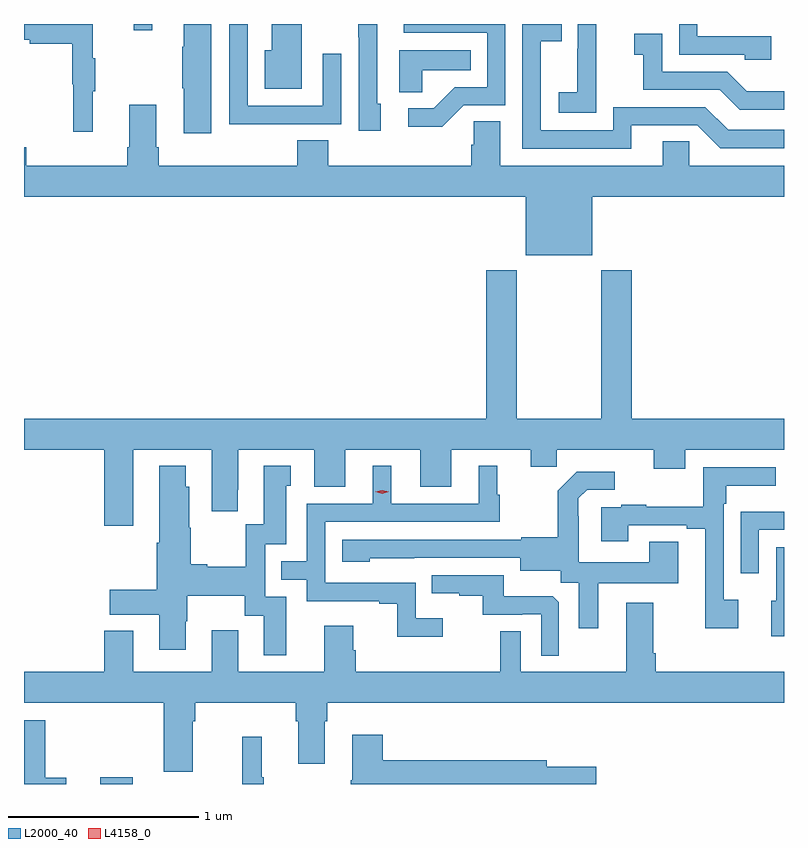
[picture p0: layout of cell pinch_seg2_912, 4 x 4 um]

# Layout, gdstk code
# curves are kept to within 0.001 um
import gdstk
lib = gdstk.Library(unit=1e-6, precision=1e-09)
def R(c, l, rs):  # rectangles x0, y0, x1, y1
    for r in rs: c.add(gdstk.rectangle(r[:2], r[2:], *l))
def P(c, l, *ps):  # polygons
    for p in ps: c.add(gdstk.Polygon(p, *l))
L2000_40 = (2000, 40)
L4158_0 = (4158, 0)

pinch_seg2_912 = lib.new_cell('pinch_seg2_912')
R(pinch_seg2_912, L2000_40, [(568.718,651.205,568.889,651.241), (568.893,655.173,568.99,655.205)])
P(pinch_seg2_912, L2000_40, [(570.63,654.777),(570.849,654.777),(570.849,655.205),(570.315,655.205),(570.315,655.158),(570.753,655.158),(570.753,654.873),(570.584,654.873),(570.473,654.762),(570.339,654.762),(570.339,654.665),(570.517,654.665)],
  [(571.513,654.672),(571.86,654.672),(571.98,654.552),(572.316,654.552),(572.316,654.648),(572.022,654.648),(571.902,654.768),(571.416,654.768),(571.416,654.645),(571.035,654.645),(571.035,655.114),(571.145,655.114),(571.145,655.205),(570.939,655.205),(570.939,654.549),(571.513,654.549)],
  [(570.193,654.786),(570.174,654.786),(570.174,655.205),(570.076,655.205),(570.076,655.135),(570.078,655.135),(570.078,654.642),(570.193,654.642)],
  [(569.302,655.205),(569.156,655.205),(569.156,655.085),(569.149,655.085),(569.149,654.868),(569.156,654.868),(569.156,654.63),(569.302,654.63)],
  [(572.249,655.14),(571.86,655.14),(571.86,655.205),(571.764,655.205),(571.764,655.044),(572.109,655.044),(572.109,655.017),(572.249,655.017)],
  [(571.329,654.943),(571.328,654.943),(571.328,655.205),(571.23,655.205),(571.23,655.076),(571.229,655.076),(571.229,654.847),(571.131,654.847),(571.131,654.737),(571.329,654.737)],
  [(568.679,654.851),(568.69,654.851),(568.69,655.025),(568.679,655.025),(568.679,655.205),(568.316,655.205),(568.316,655.122),(568.345,655.122),(568.345,655.102),(568.569,655.102),(568.569,654.888),(568.576,654.888),(568.576,654.639),(568.679,654.639)],
  [(569.779,655.203),(569.768,655.203),(569.768,655.205),(569.621,655.205),(569.621,655.066),(569.582,655.066),(569.582,654.863),(569.779,654.863)],
  [(569.669,654.678),(569.985,654.678),(569.985,655.048),(569.889,655.048),(569.889,654.774),(569.493,654.774),(569.493,655.205),(569.397,655.205),(569.397,654.677),(569.669,654.677)],
  [(572.316,654.85),(572.12,654.85),(572.016,654.954),(571.674,654.954),(571.674,655.153),(571.527,655.153),(571.527,655.043),(571.576,655.043),(571.576,654.858),(571.979,654.858),(572.084,654.753),(572.316,654.753)],
  [(570.411,654.962),(570.668,654.962),(570.668,655.066),(570.29,655.066),(570.29,654.847),(570.411,654.847)],
  [(571.306,654.296),(572.316,654.296),(572.316,654.46),(571.818,654.46),(571.818,654.587),(571.679,654.587),(571.679,654.46),(570.823,654.46),(570.823,654.692),(570.684,654.692),(570.684,654.569),(570.671,654.569),(570.671,654.46),(569.918,654.46),(569.918,654.593),(569.753,654.593),(569.753,654.46),(569.024,654.46),(569.024,654.556),(569.011,654.556),(569.011,654.781),(568.871,654.781),(568.871,654.556),(568.859,654.556),(568.859,654.46),(568.328,654.46),(568.328,654.556),(568.316,654.556),(568.316,654.296),(570.956,654.296),(570.956,653.987),(571.306,653.987)],
  [(568.891,652.964),(569.303,652.964),(569.303,652.641),(569.44,652.641),(569.44,652.753),(569.443,652.753),(569.443,652.964),(569.843,652.964),(569.843,652.77),(570.007,652.77),(570.007,652.964),(570.401,652.964),(570.401,652.77),(570.565,652.77),(570.565,652.964),(570.983,652.964),(570.983,652.874),(571.121,652.874),(571.121,652.964),(571.631,652.964),(571.631,652.865),(571.795,652.865),(571.795,652.964),(572.316,652.964),(572.316,653.128),(571.514,653.128),(571.514,653.908),(571.354,653.908),(571.354,653.128),(570.909,653.128),(570.909,653.908),(570.749,653.908),(570.749,653.128),(568.316,653.128),(568.316,652.964),(568.739,652.964),(568.739,652.563),(568.891,652.563)],
  [(570.52,652.078),(570.378,652.078),(570.378,652.263),(569.901,652.263),(569.901,652.584),(570.82,652.584),(570.82,652.728),(570.808,652.728),(570.808,652.879),(570.71,652.879),(570.71,652.68),(570.25,652.68),(570.25,652.879),(570.152,652.879),(570.152,652.68),(569.805,652.68),(569.805,652.377),(569.671,652.377),(569.671,652.281),(569.805,652.281),(569.805,652.167),(570.185,652.167),(570.185,652.155),(570.28,652.155),(570.28,651.98),(570.52,651.98)],
  [(569.695,652.191),(569.586,652.191),(569.586,652.467),(569.695,652.467),(569.695,652.776),(569.719,652.776),(569.719,652.879),(569.579,652.879),(569.579,652.572),(569.483,652.572),(569.483,652.348),(569.281,652.348),(569.281,652.361),(569.193,652.361),(569.193,652.553),(569.185,652.553),(569.185,652.77),(569.167,652.77),(569.167,652.879),(569.027,652.879),(569.027,652.475),(569.015,652.475),(569.015,652.227),(568.767,652.227),(568.767,652.097),(569.027,652.097),(569.027,651.912),(569.167,651.912),(569.167,652.062),(569.175,652.062),(569.175,652.196),(569.478,652.196),(569.478,652.09),(569.579,652.09),(569.579,651.882),(569.695,651.882)],
  [(572.074,652.174),(571.998,652.174),(571.998,652.679),(572.011,652.679),(572.011,652.775),(572.272,652.775),(572.272,652.872),(571.89,652.872),(571.89,652.664),(571.591,652.664),(571.591,652.675),(571.459,652.675),(571.459,652.662),(571.355,652.662),(571.355,652.482),(571.495,652.482),(571.495,652.566),(571.805,652.566),(571.805,652.548),(571.901,652.548),(571.901,652.026),(572.074,652.026)],
  [(571.339,652.262),(571.759,652.262),(571.759,652.481),(571.607,652.481),(571.607,652.372),(571.236,652.372),(571.236,652.613),(571.234,652.613),(571.234,652.708),(571.281,652.755),(571.426,652.755),(571.426,652.849),(571.225,652.849),(571.125,652.749),(571.125,652.504),(570.933,652.504),(570.933,652.491),(569.991,652.491),(569.991,652.376),(570.135,652.376),(570.135,652.394),(570.929,652.395),(570.929,652.328),(571.14,652.328),(571.14,652.264),(571.235,652.264),(571.235,652.026),(571.339,652.026)],
  [(572.184,652.542),(572.316,652.542),(572.316,652.639),(572.088,652.639),(572.088,652.314),(572.184,652.314)],
  [(572.316,652.452),(572.274,652.452),(572.274,652.17),(572.249,652.17),(572.249,651.983),(572.316,651.983)],
  [(571.131,652.161),(571.099,652.193),(570.841,652.193),(570.841,652.305),(570.463,652.305),(570.463,652.208),(570.607,652.208),(570.607,652.197),(570.731,652.197),(570.731,652.095),(570.938,652.095),(570.938,652.098),(571.038,652.098),(571.038,651.881),(571.131,651.881)],
  [(569.051,651.27),(569.203,651.27),(569.203,651.536),(569.216,651.536),(569.216,651.632),(569.747,651.632),(569.747,651.536),(569.759,651.536),(569.759,651.312),(569.899,651.312),(569.899,651.536),(569.912,651.536),(569.912,651.632),(572.316,651.632),(572.316,651.796),(571.64,651.796),(571.64,651.892),(571.627,651.892),(571.627,652.159),(571.487,652.159),(571.487,651.796),(570.93,651.796),(570.93,652.01),(570.822,652.01),(570.822,651.796),(570.062,651.796),(570.062,651.909),(570.049,651.909),(570.049,652.039),(569.897,652.039),(569.897,651.796),(569.443,651.796),(569.443,652.015),(569.303,652.015),(569.303,651.796),(568.891,651.796),(568.891,652.012),(568.739,652.012),(568.739,651.796),(568.316,651.796),(568.316,651.632),(569.051,651.632)],
  [(568.538,651.238),(568.427,651.238),(568.427,651.54),(568.316,651.54),(568.316,651.205),(568.538,651.205)],
  [(571.327,651.297),(571.066,651.297),(571.066,651.331),(570.203,651.331),(570.203,651.463),(570.044,651.463),(570.044,651.225),(570.037,651.225),(570.037,651.205),(571.327,651.205)],
  [(569.578,651.241),(569.567,651.241),(569.567,651.454),(569.464,651.454),(569.464,651.205),(569.578,651.205)])
P(pinch_seg2_912, L4158_0, [(570.201,652.732),(570.165,652.742),(570.165,652.742),(570.165,652.742),(570.201,652.752),(570.237,652.742),(570.237,652.742),(570.237,652.742)])

lib.write_gds('pinch_seg2_912.gds')
